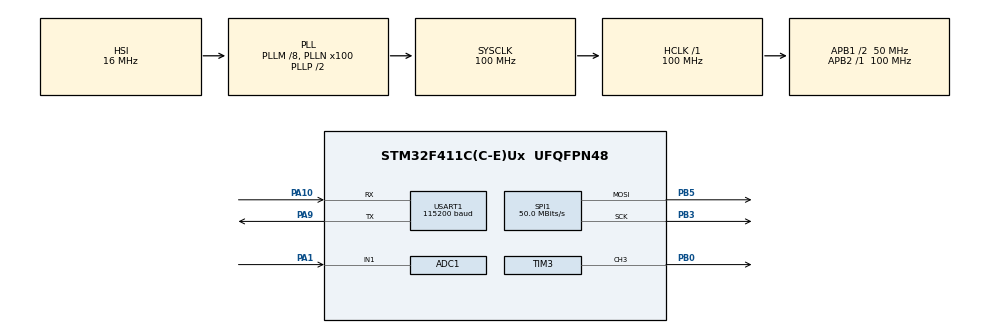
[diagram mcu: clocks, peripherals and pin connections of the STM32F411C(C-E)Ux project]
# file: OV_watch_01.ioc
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ADC1.Channel-0\#ChannelRegularConversion=ADC_CHANNEL_1
ADC1.NbrOfConversionFlag=1
ADC1.Rank-0\#ChannelRegularConversion=1
ADC1.SamplingTime-0\#ChannelRegularConversion=ADC_SAMPLETIME_3CYCLES
ADC1.master=1
Dma.Request0=USART1_RX
Dma.Request1=USART1_TX
Dma.Request2=SPI1_TX
Dma.SPI1_TX.2.Direction=DMA_MEMORY_TO_PERIPH
Dma.SPI1_TX.2.FIFOMode=DMA_FIFOMODE_DISABLE
Dma.SPI1_TX.2.Instance=DMA2_Stream2
Dma.SPI1_TX.2.MemDataAlignment=DMA_MDATAALIGN_HALFWORD
Dma.SPI1_TX.2.MemInc=DMA_MINC_ENABLE
Dma.SPI1_TX.2.Mode=DMA_NORMAL
Dma.SPI1_TX.2.PeriphDataAlignment=DMA_PDATAALIGN_HALFWORD
Dma.SPI1_TX.2.PeriphInc=DMA_PINC_DISABLE
Dma.SPI1_TX.2.Priority=DMA_PRIORITY_LOW
Dma.USART1_RX.0.Direction=DMA_PERIPH_TO_MEMORY
Dma.USART1_RX.0.FIFOMode=DMA_FIFOMODE_DISABLE
Dma.USART1_RX.0.Instance=DMA2_Stream5
Dma.USART1_RX.0.MemDataAlignment=DMA_MDATAALIGN_BYTE
Dma.USART1_RX.0.MemInc=DMA_MINC_ENABLE
Dma.USART1_RX.0.Mode=DMA_NORMAL
Dma.USART1_RX.0.PeriphDataAlignment=DMA_PDATAALIGN_BYTE
Dma.USART1_RX.0.PeriphInc=DMA_PINC_DISABLE
Dma.USART1_RX.0.Priority=DMA_PRIORITY_LOW
Dma.USART1_TX.1.Direction=DMA_MEMORY_TO_PERIPH
Dma.USART1_TX.1.FIFOMode=DMA_FIFOMODE_DISABLE
Dma.USART1_TX.1.Instance=DMA2_Stream7
Dma.USART1_TX.1.MemDataAlignment=DMA_MDATAALIGN_BYTE
Dma.USART1_TX.1.MemInc=DMA_MINC_ENABLE
Dma.USART1_TX.1.Mode=DMA_NORMAL
Dma.USART1_TX.1.PeriphDataAlignment=DMA_PDATAALIGN_BYTE
Dma.USART1_TX.1.PeriphInc=DMA_PINC_DISABLE
Dma.USART1_TX.1.Priority=DMA_PRIORITY_LOW
FREERTOS.BinarySemaphores01=EnvRefreshReqSem,Dynamic,NULL,Depleted
FREERTOS.Queues01=PageQueue,16,PageMessage*,0,Dynamic,NULL,NULL;EnvirQueue,16,EnvirMessage*,0,Dynamic,NULL,NULL;HeartQueue,16,HeartMessage*,0,Dynamic,NULL,NULL;HrCmdQueue,16,hr_command_t,0,Dynamic,NULL,NULL;CommonQueue,16,CommonMessage*,0,Dynamic,NULL,NULL;Idle_MessageQueue,1,uint8_t,0,Dynamic,NULL,NULL;IdleBreak_MessageQueue,1,uint8_t,0,Dynamic,NULL,NULL;Stop_MessageQueue,1,uint8_t,0,Dynamic,NULL,NULL;BluetoothTxQueue,8,64,1,Dynamic,NULL,NULL;BluetoothRxQueue,8,char*,0,Dynamic,NULL,NULL
FREERTOS.Tasks01=LvglTask,9,512,StartLvglTask,Default,NULL,Dynamic,NULL,NULL;myKeyTask,24,128,StartKeyTask,As external,NULL,Dynamic,NULL,NULL;myPageTask,15,128,StartPageTask,As external,NULL,Dynamic,NULL,NULL;myFeedTask,40,128,WdogFeedTask,As external,NULL,Dynamic,NULL,NULL;SensorDataTask,11,128,SensorDataRenewTask,As external,NULL,Dynamic,NULL,NULL;DataUpdateTask,11,128,SensorDataUpdateTask,As external,NULL,Dynamic,NULL,NULL;myTimeTask,11,128,TimeUpdateTask,As external,NULL,Dynamic,NULL,NULL;HeartDataTask,11,128,HeartDataRenewTask,As external,NULL,Dynamic,NULL,NULL;BluetoothTxtask,11,128,BluetoothTxTask,As external,NULL,Dynamic,NULL,NULL;BluetoothRxtask,9,128,BluetoothRxTask,As external,NULL,Dynamic,NULL,NULL
FREERTOS.Timers01=Idle_Timer,IdleTimerCallback,osTimerPeriodic,As external,NULL,Dynamic,NULL
FREERTOS.configGENERATE_RUN_TIME_STATS=1
FREERTOS.configRECORD_STACK_HIGH_ADDRESS=1
FREERTOS.configUSE_IDLE_HOOK=1
FREERTOS.configUSE_STATS_FORMATTING_FUNCTIONS=1
FREERTOS.configUSE_TICK_HOOK=1
Mcu.Family=STM32F4
Mcu.Name=STM32F411C(C-E)Ux
Mcu.Package=UFQFPN48
NVIC.DMA2_Stream2_IRQn=true\:5\:0\:false\:false\:true\:true\:false\:true\:true
NVIC.DMA2_Stream5_IRQn=true\:5\:0\:false\:false\:true\:true\:false\:true\:true
NVIC.DMA2_Stream7_IRQn=true\:5\:0\:false\:false\:true\:true\:false\:true\:true
NVIC.PriorityGroup=NVIC_PRIORITYGROUP_4
NVIC.RTC_WKUP_IRQn=true\:5\:0\:false\:false\:true\:true\:true\:true\:true
NVIC.TIM1_UP_TIM10_IRQn=true\:15\:0\:false\:false\:true\:false\:false\:true\:true
NVIC.TimeBase=TIM1_UP_TIM10_IRQn
NVIC.TimeBaseIP=TIM1
NVIC.USART1_IRQn=true\:5\:0\:false\:false\:true\:true\:true\:true\:true
PA1.Signal=ADCx_IN1
PA10.Mode=Asynchronous
PA10.Signal=USART1_RX
PA13.Mode=Serial_Wire
PA13.Signal=SYS_JTMS-SWDIO
PA14.Mode=Serial_Wire
PA14.Signal=SYS_JTCK-SWCLK
PA9.Mode=Asynchronous
PA9.Signal=USART1_TX
PB0.Signal=S_TIM3_CH3
PB3.Mode=TX_Only_Simplex_Unidirect_Master
PB3.Signal=SPI1_SCK
PB5.Mode=TX_Only_Simplex_Unidirect_Master
PB5.Signal=SPI1_MOSI
PC14-OSC32_IN.Mode=LSE-External-Oscillator
PC14-OSC32_IN.Signal=RCC_OSC32_IN
PC15-OSC32_OUT.Mode=LSE-External-Oscillator
PC15-OSC32_OUT.Signal=RCC_OSC32_OUT
ProjectManager.HeapSize=0x200
ProjectManager.StackSize=0x1000
ProjectManager.TargetToolchain=CMake
RCC.48MHZClocksFreq_Value=50000000
RCC.AHBFreq_Value=100000000
RCC.APB1CLKDivider=RCC_HCLK_DIV2
RCC.APB1Freq_Value=50000000
RCC.APB1TimFreq_Value=100000000
RCC.APB2Freq_Value=100000000
RCC.APB2TimFreq_Value=100000000
RCC.CortexFreq_Value=100000000
RCC.HCLKFreq_Value=100000000
RCC.HSE_VALUE=25000000
RCC.HSI_VALUE=16000000
RCC.PLLM=8
RCC.PLLN=100
RCC.RCC_RTC_Clock_Source=RCC_RTCCLKSOURCE_LSE
RCC.RCC_RTC_Clock_SourceVirtual=RCC_RTCCLKSOURCE_LSE
RCC.SYSCLKFreq_VALUE=100000000
RCC.SYSCLKSource=RCC_SYSCLKSOURCE_PLLCLK
RCC.VCOOutputFreq_Value=200000000
RTC.Date=31
RTC.Hours=17
RTC.Minutes=34
RTC.Month=RTC_MONTH_DECEMBER
RTC.Seconds=32
RTC.WeekDay=RTC_WEEKDAY_TUESDAY
RTC.Year=25
SH.ADCx_IN1.0=ADC1_IN1,IN1
SH.S_TIM3_CH3.0=TIM3_CH3,PWM Generation3 CH3
SPI1.CLKPhase=SPI_PHASE_2EDGE
SPI1.CLKPolarity=SPI_POLARITY_HIGH
SPI1.CalculateBaudRate=50.0 MBits/s
SPI1.Direction=SPI_DIRECTION_2LINES
SPI1.Mode=SPI_MODE_MASTER
SPI1.VirtualType=VM_MASTER
TIM3.Channel-PWM\ Generation3\ CH3=TIM_CHANNEL_3
TIM3.Period=300
TIM3.Prescaler=99
USART1.BaudRate=115200
USART1.VirtualMode=VM_ASYNC
VP_FREERTOS_VS_CMSIS_V2.Mode=CMSIS_V2
VP_RTC_VS_RTC_Activate.Mode=RTC_Enabled
VP_RTC_VS_RTC_Calendar.Mode=RTC_Calendar
VP_RTC_VS_RTC_WakeUp_intern.Mode=WakeUp
VP_SYS_VS_tim1.Mode=TIM1
board=custom

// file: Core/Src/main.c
/* USER CODE BEGIN Header */
/**
  ******************************************************************************
  * @file           : main.c
  * @brief          : Main program body
  ******************************************************************************
  * @attention
  *
  * Copyright (c) 2025 STMicroelectronics.
  * All rights reserved.
  *
  * This software is licensed under terms that can be found in the LICENSE file
  * in the root directory of this software component.
  * If no LICENSE file comes with this software, it is provided AS-IS.
  *
  ******************************************************************************
  */
/* USER CODE END Header */
#include "main.h"
#include "cmsis_os.h"
#include "adc.h"
#include "dma.h"
#include "rtc.h"
#include "spi.h"
#include "tim.h"
#include "usart.h"
#include "gpio.h"

/* USER CODE BEGIN Includes */
#include <lv_port_indev.h>
#include <sys/types.h>

#include "AHT21.h"
#include "em70x8.h"
#include "HrAlgorythm.h"
#include "stm32f4xx_it.h"
#include "delay.h"
#include "lcd.h"
#include "lcd_init.h"
#include "CST816.h"
#include "iic_hal.h"
#include "key.h"
#include "KT6328.h"
#include "SPL06_001.h"
#include "LSM303.h"

#include "lvgl.h"
#include "lv_port_disp.h"
#include "lv_port_indev.h"
#include "gui_guider.h"           // Gui Guider 生成的界面和控件的声明
#include "events_init.h"          // Gui Guider 生成的初始化事件、回调函数
#include "custom.h"
#include "Config/ov_project_config.h"
#include "Services/ProjectLog.h"
#include "Services/SystemStatus.h"
#include "Tasks/AppState.h"
lv_ui  guider_ui;                     // 声明 界面对象

/* USER CODE END Includes */

void SystemClock_Config(void);
void MX_FREERTOS_Init(void);

/* USER CODE BEGIN 0 */

// static void myBtn_event(lv_event_t *event) {
//   lv_obj_t *btn = lv_event_get_target(event);                    // 获得调用这个回调函数的对象
//   if (event->code == LV_EVENT_CLICKED)
//   {
//     static uint8_t cnt = 0;
//     cnt++;
//     lv_obj_t *label = lv_obj_get_child(btn, NULL);             // 获取第1个子对象(我们在设计时，已安排了它的第1个子对象是一个label对象)
//     lv_label_set_text_fmt(label, "Button: %d", cnt);           // 设置标签的文本，写法类似printf
//   }
// }

uint8_t Sensor_LSM303_Erro=1;
uint8_t Sensor_AHT21_Erro=1;
uint8_t Sensor_SPL_Erro=1;
uint8_t Sensor_EM_Erro=1;
uint8_t Sensor_MPU_Erro=1;

/* USER CODE END 0 */

int main(void)
{

  /* MCU Configuration--------------------------------------------------------*/

  /* Reset of all peripherals, Initializes the Flash interface and the Systick. */
  HAL_Init();
  SystemStatus_Init();
  OV_LOGI("boot", "startup");

  /* Configure the system clock */
  SystemClock_Config();

  /* Initialize all configured peripherals */
  MX_GPIO_Init();
  MX_DMA_Init();
  MX_ADC1_Init();
  MX_RTC_Init();
  MX_SPI1_Init();
  MX_TIM3_Init();
  MX_USART1_UART_Init();
  /* USER CODE BEGIN 2 */
  if(HAL_RTCEx_SetWakeUpTimer_IT(&hrtc, OV_RTC_WAKEUP_ACTIVE_TICKS, RTC_WAKEUPCLOCK_RTCCLK_DIV16) != HAL_OK)
  {
    SystemStatus_SetModule(OV_MODULE_RTC, OV_MODULE_STATUS_ERROR);
    OV_LOGE("boot", "rtc wakeup timer init failed");
    Error_Handler();
  }
  SystemStatus_SetModule(OV_MODULE_RTC, OV_MODULE_STATUS_OK);
  delay_init();
  delay_ms(100);

  HAL_TIM_PWM_Start(&htim3,TIM_CHANNEL_3);

  KT6328_GPIO_Init();
  KT6328_Enable();

  if (HAL_UARTEx_ReceiveToIdle_DMA(&huart1, rx_buffer, RX_BUFFER_SIZE) != HAL_OK) {
    SystemStatus_SetModule(OV_MODULE_BLUETOOTH, OV_MODULE_STATUS_ERROR);
    OV_LOGE("boot", "bluetooth dma receive init failed");
    Error_Handler();
  }
  SystemStatus_SetModule(OV_MODULE_BLUETOOTH, OV_MODULE_STATUS_OK);
  __HAL_DMA_DISABLE_IT(&hdma_usart1_rx, DMA_IT_HT);
  // HAL_UARTEx_ReceiveToIdle_DMA(&huart1, rx_buffer, RX_BUFFER_SIZE);
  // __HAL_UART_ENABLE_IT(&huart1, UART_IT_IDLE);
  // if (HAL_UART_Receive_IT(&huart1, &rx_byte, 1) != HAL_OK) {
  //   Error_Handler(); // 如果失败，进入错误处理（比如让 LED 狂闪）
  // }

  //touch
  CST816_GPIO_Init();
  CST816_RESET();
  SystemStatus_SetModule(OV_MODULE_TOUCH, OV_MODULE_STATUS_OK);

  //Key
  Key_Port_Init();
  SystemStatus_SetModule(OV_MODULE_KEY, OV_MODULE_STATUS_OK);

  uint8_t num = OV_SENSOR_INIT_RETRY_COUNT;
  while (num && Sensor_AHT21_Erro) {
    num--;
    Sensor_AHT21_Erro = AHT_Init();
  }
  SystemStatus_SetModule(OV_MODULE_AHT21, Sensor_AHT21_Erro ? OV_MODULE_STATUS_ERROR : OV_MODULE_STATUS_OK);
  if (Sensor_AHT21_Erro) {
    OV_LOGW("boot", "AHT21 init failed");
  }

  num = OV_SENSOR_INIT_RETRY_COUNT;
	while(num && Sensor_LSM303_Erro)
	{
		num--;
		Sensor_LSM303_Erro = LSM303DLH_Init();
	}
	if(!Sensor_LSM303_Erro)
		LSM303DLH_Sleep();
  SystemStatus_SetModule(OV_MODULE_LSM303, Sensor_LSM303_Erro ? OV_MODULE_STATUS_ERROR : OV_MODULE_STATUS_OK);
  if (Sensor_LSM303_Erro) {
    OV_LOGW("boot", "LSM303 init failed");
  }

  num = OV_SENSOR_INIT_RETRY_COUNT;
	while(num && Sensor_SPL_Erro)
	{
		num--;
		Sensor_SPL_Erro = SPL_init();
  }
  SystemStatus_SetModule(OV_MODULE_SPL06, Sensor_SPL_Erro ? OV_MODULE_STATUS_ERROR : OV_MODULE_STATUS_OK);
  if (Sensor_SPL_Erro) {
    OV_LOGW("boot", "SPL06 init failed");
  }

  num = OV_SENSOR_INIT_RETRY_COUNT;
  while(num && Sensor_EM_Erro){
    num--;
    Sensor_EM_Erro = EM7028_hrs_init();
  }
  if(!Sensor_EM_Erro)
    EM7028_hrs_DisEnable();
  SystemStatus_SetModule(OV_MODULE_EM7028, Sensor_EM_Erro ? OV_MODULE_STATUS_ERROR : OV_MODULE_STATUS_OK);
  if (Sensor_EM_Erro) {
    OV_LOGW("boot", "EM7028 init failed");
  }

  LCD_Init();
  LCD_Fill(0,0,LCD_W,LCD_H,BLACK);
  delay_ms(10);
  LCD_Set_Light(OV_DEFAULT_BRIGHTNESS);
  SystemStatus_SetModule(OV_MODULE_LCD, OV_MODULE_STATUS_OK);
  LCD_ShowString(72,LCD_H/2,(uint8_t*)"Welcome!",WHITE,BLACK,24,0);
  LCD_ShowString(42,LCD_H/2+48,(uint8_t*)"OV-Watch V1.0",WHITE,BLACK,24,0);
  HAL_Delay(OV_BOOT_WELCOME_DELAY_MS);
  // 在 main() 中初始化

  Appstate_Init();
  lv_init();
  lv_port_disp_init();
  lv_port_indev_init();
  SystemStatus_SetModule(OV_MODULE_LVGL, OV_MODULE_STATUS_OK);

  // while (1)
  // {
  //   // 每秒发送一个 "Alive!"，证明 STM32 能发，且蓝牙链路 OK
  //   HAL_UART_Transmit(&huart1, (uint8_t*)"Alive!\r\n", 9, 100);
  //   HAL_Delay(1000);
  //
  // }

  // // 按钮
  // lv_obj_t *myBtn = lv_btn_create(lv_scr_act());                               // 创建按钮; 父对象：当前活动屏幕
  // lv_obj_set_pos(myBtn, 10, 10);                                               // 设置坐标
  // lv_obj_set_size(myBtn, 120, 50);                                             // 设置大小
  // lv_obj_add_event_cb(myBtn,myBtn_event,LV_EVENT_CLICKED,NULL);
  //
  // // 按钮上的文本
  // lv_obj_t *label_btn = lv_label_create(myBtn);                                // 创建文本标签，父对象：上面的btn按钮
  // lv_obj_align(label_btn, LV_ALIGN_CENTER, 0, 0);                              // 对齐于：父对象
  // lv_label_set_text(label_btn, "Test");                                        // 设置标签的文本
  //
  // // 独立的标签
  // lv_obj_t *myLabel = lv_label_create(lv_scr_act());                           // 创建文本标签; 父对象：当前活动屏幕
  // lv_label_set_text(myLabel, "Hello world!");                                  // 设置标签的文本
  // lv_obj_align(myLabel, LV_ALIGN_CENTER, 0, 0);                                // 对齐于：父对象
  // lv_obj_align_to(myBtn, myLabel, LV_ALIGN_OUT_TOP_MID, 0, -20);               // 对齐于：某对象
  /* USER CODE END 2 */

  /* Init scheduler */
  osKernelInitialize();

  /* Call init function for freertos objects (in cmsis_os2.c) */
  MX_FREERTOS_Init();

  /* Start scheduler */
  osKernelStart();

  /* We should never get here as control is now taken by the scheduler */

  /* Infinite loop */
  /* USER CODE BEGIN WHILE */
  // int index_1000 = 0;
  while (1)
  {
    // index_1000++;
    // LCD_ShowIntNum(30,30,index_1000,5,BLACK,WHITE,16);
    /* USER CODE END WHILE */

  }
}

void SystemClock_Config(void)
{
  RCC_OscInitTypeDef RCC_OscInitStruct = {0};
  RCC_ClkInitTypeDef RCC_ClkInitStruct = {0};

  /** Configure the main internal regulator output voltage
  */
  __HAL_RCC_PWR_CLK_ENABLE();
  __HAL_PWR_VOLTAGESCALING_CONFIG(PWR_REGULATOR_VOLTAGE_SCALE1);

  /** Initializes the RCC Oscillators according to the specified parameters
  * in the RCC_OscInitTypeDef structure.
  */
  RCC_OscInitStruct.OscillatorType = RCC_OSCILLATORTYPE_HSI|RCC_OSCILLATORTYPE_LSE;
  RCC_OscInitStruct.LSEState = RCC_LSE_ON;
  RCC_OscInitStruct.HSIState = RCC_HSI_ON;
  RCC_OscInitStruct.HSICalibrationValue = RCC_HSICALIBRATION_DEFAULT;
  RCC_OscInitStruct.PLL.PLLState = RCC_PLL_ON;
  RCC_OscInitStruct.PLL.PLLSource = RCC_PLLSOURCE_HSI;
  RCC_OscInitStruct.PLL.PLLM = 8;
  RCC_OscInitStruct.PLL.PLLN = 100;
  RCC_OscInitStruct.PLL.PLLP = RCC_PLLP_DIV2;
  RCC_OscInitStruct.PLL.PLLQ = 4;
  if (HAL_RCC_OscConfig(&RCC_OscInitStruct) != HAL_OK)
  {
    Error_Handler();
  }

  /** Initializes the CPU, AHB and APB buses clocks
  */
  RCC_ClkInitStruct.ClockType = RCC_CLOCKTYPE_HCLK|RCC_CLOCKTYPE_SYSCLK
                              |RCC_CLOCKTYPE_PCLK1|RCC_CLOCKTYPE_PCLK2;
  RCC_ClkInitStruct.SYSCLKSource = RCC_SYSCLKSOURCE_PLLCLK;
  RCC_ClkInitStruct.AHBCLKDivider = RCC_SYSCLK_DIV1;
  RCC_ClkInitStruct.APB1CLKDivider = RCC_HCLK_DIV2;
  RCC_ClkInitStruct.APB2CLKDivider = RCC_HCLK_DIV1;

  if (HAL_RCC_ClockConfig(&RCC_ClkInitStruct, FLASH_LATENCY_3) != HAL_OK)
  {
    Error_Handler();
  }
}

void HAL_TIM_PeriodElapsedCallback(TIM_HandleTypeDef *htim)
{
  if (htim->Instance == TIM1) {
    HAL_IncTick();
  }
}

void Error_Handler(void)
{
  __disable_irq();
  while (1)
  {
  }
}

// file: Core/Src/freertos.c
/* USER CODE BEGIN Header */
/**
  ******************************************************************************
  * File Name          : freertos.c
  * Description        : Code for freertos applications
  ******************************************************************************
  * @attention
  *
  * Copyright (c) 2025 STMicroelectronics.
  * All rights reserved.
  *
  * This software is licensed under terms that can be found in the LICENSE file
  * in the root directory of this software component.
  * If no LICENSE file comes with this software, it is provided AS-IS.
  *
  ******************************************************************************
  */
/* USER CODE END Header */

#include "FreeRTOS.h"
#include "task.h"
#include "main.h"
#include "cmsis_os.h"

/* USER CODE BEGIN Includes */
#include "stdio.h"
#include "delay.h"
#include "lcd.h"
#include "lcd_init.h"
#include "CST816.h"
#include "iic_hal.h"
#include "key.h"

#include "lvgl.h"
#include "lv_port_disp.h"
#include "lv_port_indev.h"
#include "gui_guider.h"           // Gui Guider 生成的界面和控件的声明
#include "events_init.h"          // Gui Guider 生成的初始化事件、回调函数
#include "custom.h"
#include "Config/ov_project_config.h"
#include "Tasks//SensorDataTask.h"
#include "Tasks/user_PowerManager.h"
#include "Types/PageType.h"
#include "Types/Sensor.h"
/* USER CODE END Includes */

/* USER CODE BEGIN PTD */
extern lv_ui  guider_ui;                     // 声明 界面对象
/* USER CODE END PTD */

/* Definitions for LvglTask */
osThreadId_t LvglTaskHandle;
const osThreadAttr_t LvglTask_attributes = {
  .name = "LvglTask",
  .stack_size = 512 * 4,
  .priority = (osPriority_t) osPriorityLow1,
};
/* Definitions for myKeyTask */
osThreadId_t myKeyTaskHandle;
const osThreadAttr_t myKeyTask_attributes = {
  .name = "myKeyTask",
  .stack_size = 128 * 4,
  .priority = (osPriority_t) osPriorityNormal,
};
/* Definitions for myPageTask */
osThreadId_t myPageTaskHandle;
const osThreadAttr_t myPageTask_attributes = {
  .name = "myPageTask",
  .stack_size = 128 * 4,
  .priority = (osPriority_t) osPriorityLow3,  // Optimized from Low7 to Low3 for faster page switching
};
/* Definitions for myFeedTask */
osThreadId_t myFeedTaskHandle;
const osThreadAttr_t myFeedTask_attributes = {
  .name = "myFeedTask",
  .stack_size = 128 * 4,
  .priority = (osPriority_t) osPriorityHigh,
};
/* Definitions for SensorDataTask */
osThreadId_t SensorDataTaskHandle;
const osThreadAttr_t SensorDataTask_attributes = {
  .name = "SensorDataTask",
  .stack_size = 128 * 4,
  .priority = (osPriority_t) osPriorityLow3,
};
/* Definitions for DataUpdateTask */
osThreadId_t DataUpdateTaskHandle;
const osThreadAttr_t DataUpdateTask_attributes = {
  .name = "DataUpdateTask",
  .stack_size = 128 * 4,
  .priority = (osPriority_t) osPriorityLow3,
};
/* Definitions for myTimeTask */
osThreadId_t myTimeTaskHandle;
const osThreadAttr_t myTimeTask_attributes = {
  .name = "myTimeTask",
  .stack_size = 128 * 4,
  .priority = (osPriority_t) osPriorityLow3,
};
/* Definitions for HeartDataTask */
osThreadId_t HeartDataTaskHandle;
const osThreadAttr_t HeartDataTask_attributes = {
  .name = "HeartDataTask",
  .stack_size = 128 * 4,
  .priority = (osPriority_t) osPriorityLow3,
};
/* Definitions for BluetoothTxtask */
osThreadId_t BluetoothTxtaskHandle;
const osThreadAttr_t BluetoothTxtask_attributes = {
  .name = "BluetoothTxtask",
  .stack_size = 128 * 4,
  .priority = (osPriority_t) osPriorityLow3,
};
/* Definitions for BluetoothRxtask */
osThreadId_t BluetoothRxtaskHandle;
const osThreadAttr_t BluetoothRxtask_attributes = {
  .name = "BluetoothRxtask",
  .stack_size = 128 * 4,
  .priority = (osPriority_t) osPriorityLow1,
};
/* Definitions for PageQueue */
osMessageQueueId_t PageQueueHandle;
const osMessageQueueAttr_t PageQueue_attributes = {
  .name = "PageQueue"
};
/* Definitions for EnvirQueue */
osMessageQueueId_t EnvirQueueHandle;
const osMessageQueueAttr_t EnvirQueue_attributes = {
  .name = "EnvirQueue"
};
/* Definitions for HeartQueue */
osMessageQueueId_t HeartQueueHandle;
const osMessageQueueAttr_t HeartQueue_attributes = {
  .name = "HeartQueue"
};
/* Definitions for HrCmdQueue */
osMessageQueueId_t HrCmdQueueHandle;
const osMessageQueueAttr_t HrCmdQueue_attributes = {
  .name = "HrCmdQueue"
};
/* Definitions for CommonQueue */
osMessageQueueId_t CommonQueueHandle;
const osMessageQueueAttr_t CommonQueue_attributes = {
  .name = "CommonQueue"
};
/* Definitions for Idle_MessageQueue */
osMessageQueueId_t Idle_MessageQueueHandle;
const osMessageQueueAttr_t Idle_MessageQueue_attributes = {
  .name = "Idle_MessageQueue"
};
/* Definitions for IdleBreak_MessageQueue */
osMessageQueueId_t IdleBreak_MessageQueueHandle;
const osMessageQueueAttr_t IdleBreak_MessageQueue_attributes = {
  .name = "IdleBreak_MessageQueue"
};
/* Definitions for Stop_MessageQueue */
osMessageQueueId_t Stop_MessageQueueHandle;
const osMessageQueueAttr_t Stop_MessageQueue_attributes = {
  .name = "Stop_MessageQueue"
};
/* Definitions for BluetoothTxQueue */
osMessageQueueId_t BluetoothTxQueueHandle;
const osMessageQueueAttr_t BluetoothTxQueue_attributes = {
  .name = "BluetoothTxQueue"
};
/* Definitions for BluetoothRxQueue */
osMessageQueueId_t BluetoothRxQueueHandle;
const osMessageQueueAttr_t BluetoothRxQueue_attributes = {
  .name = "BluetoothRxQueue"
};
/* Definitions for Idle_Timer */
osTimerId_t Idle_TimerHandle;
const osTimerAttr_t Idle_Timer_attributes = {
  .name = "Idle_Timer"
};
/* Definitions for EnvRefreshReqSem */
osSemaphoreId_t EnvRefreshReqSemHandle;
const osSemaphoreAttr_t EnvRefreshReqSem_attributes = {
  .name = "EnvRefreshReqSem"
};

void StartLvglTask(void *argument);
extern void StartKeyTask(void *argument);
extern void StartPageTask(void *argument);
extern void WdogFeedTask(void *argument);
extern void SensorDataRenewTask(void *argument);
extern void SensorDataUpdateTask(void *argument);
extern void TimeUpdateTask(void *argument);
extern void HeartDataRenewTask(void *argument);
extern void BluetoothTxTask(void *argument);
extern void BluetoothRxTask(void *argument);
extern void IdleTimerCallback(void *argument);

void MX_FREERTOS_Init(void); /* (MISRA C 2004 rule 8.1) */

/* Hook prototypes */
void configureTimerForRunTimeStats(void);
unsigned long getRunTimeCounterValue(void);
void vApplicationIdleHook(void);
void vApplicationTickHook(void);

/* USER CODE BEGIN 1 */
/* Functions needed when configGENERATE_RUN_TIME_STATS is on */
__weak void configureTimerForRunTimeStats(void)
{

}

__weak unsigned long getRunTimeCounterValue(void)
{
return 0;
}
/* USER CODE END 1 */

/* USER CODE BEGIN 2 */
void vApplicationIdleHook( void )
{
   /* vApplicationIdleHook() will only be called if configUSE_IDLE_HOOK is set
   to 1 in FreeRTOSConfig.h. It will be called on each iteration of the idle
   task. It is essential that code added to this hook function never attempts
   to block in any way (for example, call xQueueReceive() with a block time
   specified, or call vTaskDelay()). If the application makes use of the
   vTaskDelete() API function (as this demo application does) then it is also
   important that vApplicationIdleHook() is permitted to return to its calling
   function, because it is the responsibility of the idle task to clean up
   memory allocated by the kernel to any task that has since been deleted. */
}
/* USER CODE END 2 */

/* USER CODE BEGIN 3 */
void vApplicationTickHook( void )
{
   /* This function will be called by each tick interrupt if
   configUSE_TICK_HOOK is set to 1 in FreeRTOSConfig.h. User code can be
   added here, but the tick hook is called from an interrupt context, so
   code must not attempt to block, and only the interrupt safe FreeRTOS API
   functions can be used (those that end in FromISR()). */
}
/* USER CODE END 3 */

void MX_FREERTOS_Init(void) {

  /* Create the semaphores(s) */
  /* creation of EnvRefreshReqSem */
  EnvRefreshReqSemHandle = osSemaphoreNew(1, 0, &EnvRefreshReqSem_attributes);

  /* Create the timer(s) */
  /* creation of Idle_Timer */
  Idle_TimerHandle = osTimerNew(IdleTimerCallback, osTimerPeriodic, NULL, &Idle_Timer_attributes);

  /* USER CODE BEGIN RTOS_TIMERS */
  osTimerStart(Idle_TimerHandle, OV_IDLE_TIMER_PERIOD_MS);
  /* start timers, add new ones, ... */
  /* USER CODE END RTOS_TIMERS */

  /* Create the queue(s) */
  /* creation of PageQueue */
  PageQueueHandle = osMessageQueueNew (OV_PAGE_QUEUE_LENGTH, sizeof(PageCommand), &PageQueue_attributes);

  /* creation of EnvirQueue */
  EnvirQueueHandle = osMessageQueueNew (OV_SENSOR_QUEUE_LENGTH, sizeof(EnvirMessage), &EnvirQueue_attributes);

  /* creation of HeartQueue */
  HeartQueueHandle = osMessageQueueNew (OV_SENSOR_QUEUE_LENGTH, sizeof(HeartMessage), &HeartQueue_attributes);

  /* creation of HrCmdQueue */
  HrCmdQueueHandle = osMessageQueueNew (OV_HEART_COMMAND_QUEUE_LENGTH, sizeof(hr_command_t), &HrCmdQueue_attributes);

  /* creation of CommonQueue */
  CommonQueueHandle = osMessageQueueNew (OV_COMMON_QUEUE_LENGTH, sizeof(CommonMessage), &CommonQueue_attributes);

  /* creation of Idle_MessageQueue */
  Idle_MessageQueueHandle = osMessageQueueNew (OV_IDLE_QUEUE_LENGTH, sizeof(uint8_t), &Idle_MessageQueue_attributes);

  /* creation of IdleBreak_MessageQueue */
  IdleBreak_MessageQueueHandle = osMessageQueueNew (OV_IDLE_QUEUE_LENGTH, sizeof(uint8_t), &IdleBreak_MessageQueue_attributes);

  /* creation of Stop_MessageQueue */
  Stop_MessageQueueHandle = osMessageQueueNew (OV_IDLE_QUEUE_LENGTH, sizeof(uint8_t), &Stop_MessageQueue_attributes);

  /* creation of BluetoothTxQueue */
  BluetoothTxQueueHandle = osMessageQueueNew (OV_BLUETOOTH_TX_QUEUE_LENGTH, OV_BLUETOOTH_TX_MESSAGE_SIZE, &BluetoothTxQueue_attributes);

  /* creation of BluetoothRxQueue */
  BluetoothRxQueueHandle = osMessageQueueNew (OV_BLUETOOTH_RX_QUEUE_LENGTH, OV_BLUETOOTH_TX_MESSAGE_SIZE, &BluetoothRxQueue_attributes);

  /* Create the thread(s) */
  /* creation of LvglTask */
  LvglTaskHandle = osThreadNew(StartLvglTask, NULL, &LvglTask_attributes);

  /* creation of myKeyTask */
  myKeyTaskHandle = osThreadNew(StartKeyTask, NULL, &myKeyTask_attributes);

  /* creation of myPageTask */
  myPageTaskHandle = osThreadNew(StartPageTask, NULL, &myPageTask_attributes);

  /* creation of myFeedTask */
  myFeedTaskHandle = osThreadNew(WdogFeedTask, NULL, &myFeedTask_attributes);

  /* creation of SensorDataTask */
  SensorDataTaskHandle = osThreadNew(SensorDataRenewTask, NULL, &SensorDataTask_attributes);

  /* creation of DataUpdateTask */
  DataUpdateTaskHandle = osThreadNew(SensorDataUpdateTask, NULL, &DataUpdateTask_attributes);

  /* creation of myTimeTask */
  myTimeTaskHandle = osThreadNew(TimeUpdateTask, NULL, &myTimeTask_attributes);

  /* creation of HeartDataTask */
  HeartDataTaskHandle = osThreadNew(HeartDataRenewTask, NULL, &HeartDataTask_attributes);

  /* creation of BluetoothTxtask */
  BluetoothTxtaskHandle = osThreadNew(BluetoothTxTask, NULL, &BluetoothTxtask_attributes);

  /* creation of BluetoothRxtask */
  BluetoothRxtaskHandle = osThreadNew(BluetoothRxTask, NULL, &BluetoothRxtask_attributes);

  /* USER CODE BEGIN RTOS_THREADS */
  osThreadNew(IdleEnterTask,NULL,NULL);
  osThreadNew(StopEnterTask,NULL,NULL);
  /* add threads, ... */
  /* USER CODE END RTOS_THREADS */

}

void StartLvglTask(void *argument)
{
  /* USER CODE BEGIN StartLvglTask */
  setup_ui(&guider_ui);
  // events_init(&guider_ui);
  custom_init(&guider_ui);

  uint32_t last_wake_time = osKernelGetTickCount();
  const uint32_t lvgl_period_ms = OV_LVGL_TASK_PERIOD_MS;
  // char text_buf[10];
  static uint32_t last_tick = 0;
  /* Infinite loop */
  for(;;)
  {

    uint32_t now = osKernelGetTickCount();
    if (now - last_tick > 0) {
      lv_tick_inc(now - last_tick);
      // user_HR_timecount+=(now - last_tick);
      last_tick = now;
    }
    lv_timer_handler();
    last_wake_time += lvgl_period_ms;
    osDelayUntil(last_wake_time);
  }
  /* USER CODE END StartLvglTask */
}
